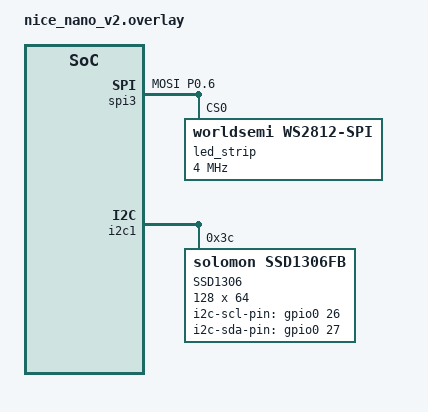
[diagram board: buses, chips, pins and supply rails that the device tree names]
#include <dt-bindings/led/led.h>

&pinctrl {
    spi3_default: spi3_default {
        group1 {
            psels = <NRF_PSEL(SPIM_MOSI, 0, 6)>;
        };
    };

    spi3_sleep: spi3_sleep {
        group1 {
            psels = <NRF_PSEL(SPIM_MOSI, 0, 6)>;
            low-power-enable;
        };
    };
};

&spi3 {
    compatible = "nordic,nrf-spim";
    status = "okay";

    pinctrl-0 = <&spi3_default>;
    pinctrl-1 = <&spi3_sleep>;
    pinctrl-names = "default", "sleep";

    led_strip: ws2812@0 {
        compatible = "worldsemi,ws2812-spi";

        /* SPI */
        reg = <0>; /* ignored, but necessary for SPI bindings */
        spi-max-frequency = <4000000>;

        /* WS2812 */
        chain-length = <21>; /* number of LEDs */
        spi-one-frame = <0x70>;
        spi-zero-frame = <0x40>;
        color-mapping = <LED_COLOR_ID_GREEN
                         LED_COLOR_ID_RED
                         LED_COLOR_ID_BLUE>;
    };
};


&i2c1 {
    status = "okay";
    ssd1306: ssd1306@3c {
        compatible = "solomon,ssd1306fb";
        reg = <0x3c>;
        label = "SSD1306";
        width = <128>;
        height = <64>;
        segment-offset = <0>;
        page-offset = <0>;
        framerate = <60>;
        i2c-scl-pin = <&gpio0 26 GPIO_ACTIVE_HIGH>;
        i2c-sda-pin = <&gpio0 27 GPIO_ACTIVE_HIGH>;
    };
};

/ {
    chosen {
        zmk,underglow = &led_strip;
    };
};
